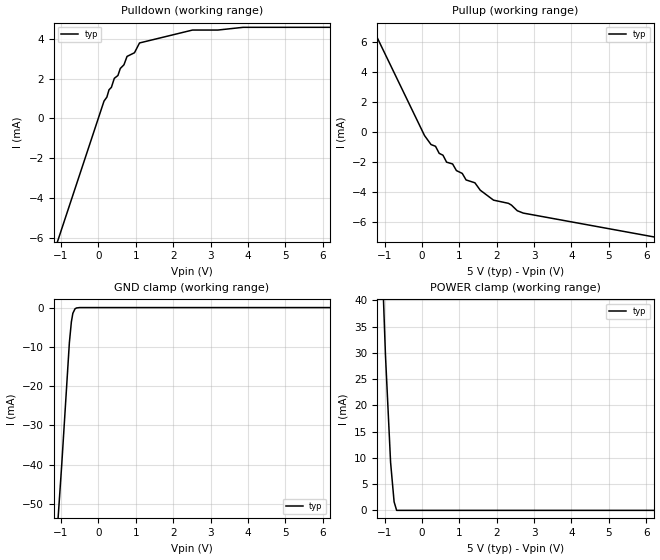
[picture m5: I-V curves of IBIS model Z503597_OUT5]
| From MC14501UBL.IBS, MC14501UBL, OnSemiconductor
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| (C) COPYRIGHT 1993-2000
| MENTOR GRAPHICS CORPORATION
| ICX STANDARD LIBRARY, ICX PROJECT MODELING,
| ICX CUSTOM MODELING, ICX VENDOR MODEL
| ALL RIGHTS RESERVED.
| THE FOLLOWING ARE TRADEMARKS OR SERVICE MARKS OF
| MENTOR GRAPHICS CORPORATION:ICX (R), ICX STANDARD
| LIBRARY(R), ICX PROJECT MODELING(R), ICX CUSTOM
| MODELING(R), qualityIBIS(TM), MODELVIEWER(TM),
| AND MODELEDITOR(TM)
| ALL COPIES OF SOFTWARE, INCLUDING BUT NOT LIMITED TO
| ANY MODIFICATIONS, ENHANCEMENTS OR DERIVATIVE WORKS,
| MUST CONTAIN ALL MENTOR GRAPHICS CORPORATION'S
| NOTICES AND LEGENDS, INCLUDING THOSE EMBEDDED IN
| SOFTWARE AND THOSE AFFIXED TO SOFTWARE MEDIUM
| AND CONTAINER, AS RECEIVED FROM MENTOR GRAPHICS
| CORPORATION.
| Model Application Version 1.89 2/18/99.
[Model] Z503597_OUT5
Model_type Output
Vref=0.000V
Rref=500.0Mohms
Cref=50.00pF
Vmeas=2.500V
C_comp 8.000pF NA NA
| variable typ   min   max
[Voltage Range] 5.000V NA NA
[POWER Clamp Reference] 5.000V NA NA
[Pullup Reference] 5.000V NA NA
[Pulldown Reference] 0.000V NA NA
[GND Clamp Reference] 0.000V NA NA
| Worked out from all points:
|   slope of the pulldown table from 0 to 0.75 V, typ, clamps not added: 248 ohm
|   slope of the pullup table from 0 to 0.75 V, typ, clamps not added: 341 ohm
|   GND clamp passes 1 mA (typ) near -0.66 V on its own axis
|   POWER clamp passes 1 mA (typ) near -0.72 V on its own axis
[GND Clamp]
-5V       -601.7mA   NA         NA
-978.5mV  -39.74mA   NA         NA
-775.8mV  -8.898mA   NA         NA
-722.7mV  -3.643mA   NA         NA
-683.2mV  -1.457mA   NA         NA
-625mV    -314.7uA   NA         NA
-585.9mV  -100.9uA   NA         NA
-502.2mV  0A         NA         NA
10V       0A         NA         NA
[Pulldown]
-5V       -28.4mA    NA         NA
150.6mV   873.2uA    NA         NA
348.4mV   1.566mA    NA         NA
425.8mV   2.017mA    NA         NA
522.6mV   2.161mA    NA         NA
585.9mV   2.514mA    NA         NA
766.3mV   3.12mA     NA         NA
965.3mV   3.305mA    NA         NA
1.1V      3.797mA    NA         NA
2.518V    4.447mA    NA         NA
3.872V    4.584mA    NA         NA
10V       4.584mA    NA         NA
[Pullup]
-5V       25.93mA    NA         NA
68mV      -228.6uA   NA         NA
562mV     -1.542mA   NA         NA
659mV     -2.006mA   NA         NA
820mV     -2.127mA   NA         NA
1.18V     -3.192mA   NA         NA
1.416V    -3.383mA   NA         NA
1.559V    -3.876mA   NA         NA
1.914V    -4.54mA    NA         NA
2.313V    -4.753mA   NA         NA
2.71V     -5.404mA   NA         NA
10V       -8.722mA   NA         NA
[POWER Clamp]
-5V       946.5mA    NA         NA
-1.14V    62.29mA    NA         NA
-977mV    29.71mA    NA         NA
-839mV    9.147mA    NA         NA
-745mV    1.621mA    NA         NA
-677.3mV  0A         NA         NA
10V       0A         NA         NA
[Ramp]
| variable typ min max
dV/dt_r 1.519/18.01n NA NA
dV/dt_f 1.519/20.33n NA NA
R_load = 500.0Ohms
